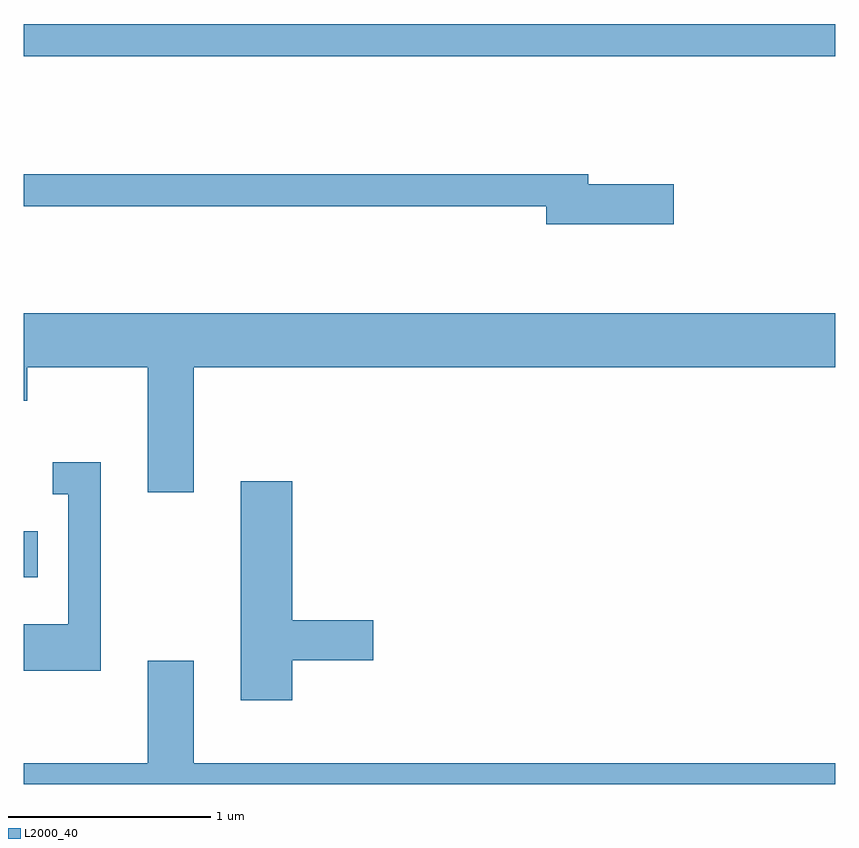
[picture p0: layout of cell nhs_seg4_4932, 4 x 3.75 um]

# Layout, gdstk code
import gdstk
lib = gdstk.Library(unit=1e-6, precision=1e-09)
def R(c, l, rs):  # rectangles x0, y0, x1, y1
    for r in rs: c.add(gdstk.rectangle(r[:2], r[2:], *l))
def P(c, l, *ps):  # polygons
    for p in ps: c.add(gdstk.Polygon(p, *l))
L2000_40 = (2000, 40)

nhs_seg4_4932 = lib.new_cell('nhs_seg4_4932')
R(nhs_seg4_4932, L2000_40, [(329.611,1327.001,329.679,1327.229), (329.611,1329.571,333.611,1329.729)])
P(nhs_seg4_4932, L2000_40, [(332.814,1328.939),(332.394,1328.939),(332.394,1328.989),(329.611,1328.989),(329.611,1328.831),(332.186,1328.831),(332.186,1328.741),(332.814,1328.741)],
  [(330.449,1328.036),(333.611,1328.036),(333.611,1328.304),(329.611,1328.304),(329.611,1327.871),(329.629,1327.871),(329.629,1328.036),(330.221,1328.036),(330.221,1327.421),(330.449,1327.421)],
  [(329.989,1327.569),(329.753,1327.569),(329.753,1327.411),(329.831,1327.411),(329.831,1326.769),(329.611,1326.769),(329.611,1326.541),(329.989,1326.541)],
  [(330.934,1326.591),(331.334,1326.591),(331.334,1326.789),(330.934,1326.789),(330.934,1327.474),(330.681,1327.474),(330.681,1326.396),(330.934,1326.396)],
  [(333.611,1326.084),(330.449,1326.084),(330.449,1326.589),(330.221,1326.589),(330.221,1326.084),(329.611,1326.084),(329.611,1325.982),(333.611,1325.982)])

lib.write_gds('nhs_seg4_4932.gds')
